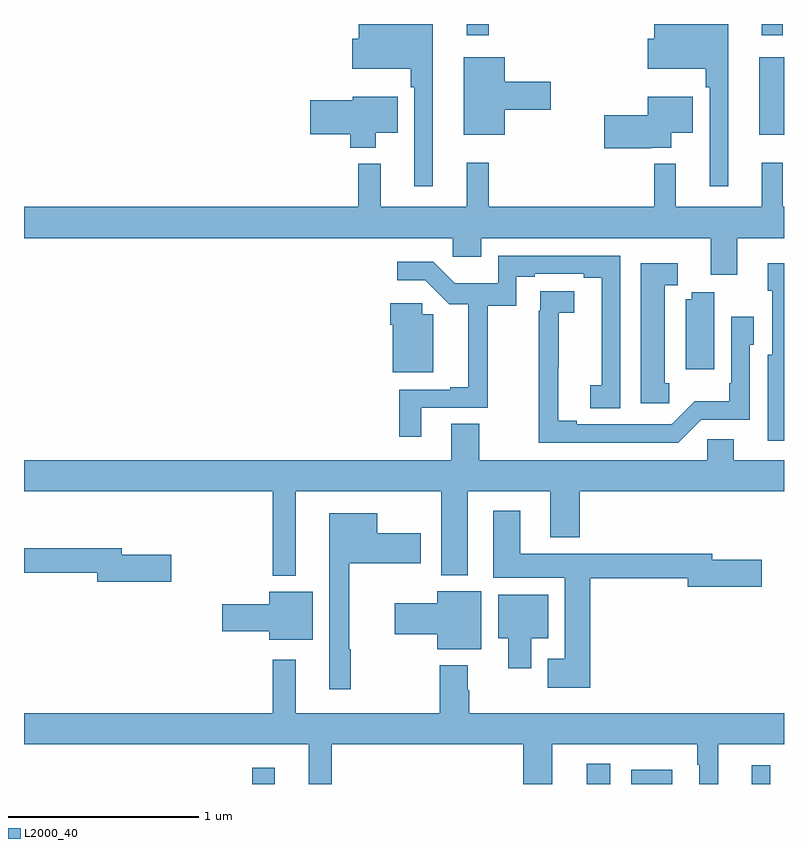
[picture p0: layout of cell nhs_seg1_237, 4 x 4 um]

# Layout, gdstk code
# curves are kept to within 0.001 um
import gdstk
lib = gdstk.Library(unit=1e-6, precision=1e-09)
def R(c, l, rs):  # rectangles x0, y0, x1, y1
    for r in rs: c.add(gdstk.rectangle(r[:2], r[2:], *l))
def P(c, l, *ps):  # polygons
    for p in ps: c.add(gdstk.Polygon(p, *l))
L2000_40 = (2000, 40)

nhs_seg1_237 = lib.new_cell('nhs_seg1_237')
R(nhs_seg1_237, L2000_40, [(124.2,542.199,124.321,542.284), (125.963,542.199,126.085,542.305), (126.195,542.199,126.412,542.275), (126.831,542.199,126.928,542.299), (126.869,545.615,127,546.025), (125.33,546.141,125.447,546.199), (126.884,546.141,126.994,546.199)])
P(nhs_seg1_237, L2000_40, [(126.706,546.199),(126.316,546.199),(126.316,546.121),(126.282,546.121),(126.282,545.963),(126.589,545.963),(126.589,545.867),(126.609,545.867),(126.609,545.346),(126.706,545.346)],
  [(125.152,546.199),(124.762,546.199),(124.762,546.121),(124.728,546.121),(124.728,545.963),(125.035,545.963),(125.035,545.867),(125.055,545.867),(125.055,545.346),(125.152,545.346)],
  [(125.53,545.747),(125.773,545.747),(125.773,545.894),(125.53,545.894),(125.53,546.025),(125.315,546.025),(125.315,545.615),(125.53,545.615)],
  [(126.302,545.549),(126.406,545.549),(126.406,545.627),(126.52,545.627),(126.52,545.815),(126.284,545.815),(126.284,545.72),(126.054,545.72),(126.054,545.544),(126.302,545.544)],
  [(124.852,545.627),(124.966,545.627),(124.966,545.815),(124.73,545.815),(124.73,545.798),(124.506,545.798),(124.506,545.62),(124.718,545.62),(124.718,545.549),(124.852,545.549)],
  [(126.754,545.072),(127,545.072),(127,545.236),(126.994,545.236),(126.994,545.47),(126.884,545.47),(126.884,545.236),(126.431,545.236),(126.431,545.464),(126.317,545.464),(126.317,545.236),(125.447,545.236),(125.447,545.47),(125.33,545.47),(125.33,545.236),(124.877,545.236),(124.877,545.464),(124.759,545.464),(124.759,545.236),(123,545.236),(123,545.072),(125.256,545.072),(125.256,544.974),(125.407,544.974),(125.407,545.072),(126.614,545.072),(126.614,544.878),(126.754,544.878)],
  [(125.092,544.179),(125.441,544.179),(125.441,544.717),(125.592,544.717),(125.592,544.87),(125.689,544.87),(125.689,544.884),(125.945,544.884),(125.945,544.864),(126.041,544.864),(126.04,544.297),(125.979,544.297),(125.979,544.177),(126.138,544.177),(126.138,544.98),(125.496,544.98),(125.496,544.834),(125.267,544.834),(125.154,544.947),(124.965,544.947),(124.965,544.851),(125.112,544.851),(125.239,544.725),(125.339,544.725),(125.339,544.288),(125.243,544.288),(125.243,544.275),(124.975,544.275),(124.975,544.026),(125.092,544.026)],
  [(126.395,544.308),(126.373,544.308),(126.373,544.824),(126.442,544.824),(126.442,544.939),(126.245,544.939),(126.245,544.203),(126.395,544.203)],
  [(127,544.939),(126.914,544.939),(126.914,544.794),(126.938,544.794),(126.938,544.458),(126.914,544.458),(126.914,544.005),(127,544.005)],
  [(126.564,544.116),(126.819,544.116),(126.819,544.512),(126.84,544.512),(126.84,544.657),(126.723,544.657),(126.723,544.309),(126.711,544.309),(126.711,544.213),(126.529,544.213),(126.408,544.092),(125.908,544.092),(125.908,544.112),(125.812,544.112),(125.814,544.678),(125.896,544.678),(125.896,544.793),(125.716,544.793),(125.716,544.691),(125.71,544.691),(125.71,543.996),(126.444,543.996)],
  [(126.634,544.787),(126.514,544.787),(126.514,544.75),(126.482,544.75),(126.482,544.383),(126.634,544.383)],
  [(125.155,544.672),(125.097,544.672),(125.097,544.729),(124.928,544.729),(124.928,544.616),(124.94,544.616),(124.94,544.367),(125.155,544.367)],
  [(124.429,543.74),(125.195,543.74),(125.195,543.299),(125.335,543.299),(125.335,543.74),(125.771,543.74),(125.771,543.497),(125.924,543.497),(125.924,543.74),(127,543.74),(127,543.904),(126.736,543.904),(126.736,544.014),(126.597,544.014),(126.597,543.904),(125.397,543.904),(125.397,544.094),(125.249,544.094),(125.249,543.904),(123,543.904),(123,543.74),(124.308,543.74),(124.308,543.296),(124.429,543.296)],
  [(125.981,543.283),(126.494,543.283),(126.494,543.236),(126.883,543.236),(126.883,543.378),(126.622,543.378),(126.622,543.412),(125.611,543.412),(125.611,543.637),(125.471,543.637),(125.471,543.284),(125.846,543.284),(125.846,542.857),(125.756,542.857),(125.756,542.705),(125.981,542.705)],
  [(124.721,542.909),(124.711,542.909),(124.711,543.362),(125.089,543.362),(125.089,543.52),(124.858,543.52),(124.858,543.625),(124.607,543.625),(124.607,542.697),(124.721,542.697)],
  [(123.775,543.405),(123.514,543.405),(123.514,543.439),(123,543.439),(123,543.31),(123.386,543.31),(123.386,543.263),(123.775,543.263)],
  [(125.407,543.214),(125.174,543.214),(125.174,543.151),(124.95,543.151),(124.95,542.986),(125.174,542.986),(125.174,542.909),(125.407,542.909)],
  [(124.519,543.211),(124.292,543.211),(124.292,543.146),(124.044,543.146),(124.044,543.004),(124.292,543.004),(124.292,542.957),(124.519,542.957)],
  [(125.671,542.966),(125.758,542.966),(125.758,543.196),(125.495,543.196),(125.495,542.966),(125.549,542.966),(125.549,542.808),(125.671,542.808)],
  [(124.621,542.408),(125.627,542.408),(125.627,542.199),(125.779,542.199),(125.779,542.408),(126.543,542.408),(126.543,542.301),(126.554,542.301),(126.554,542.199),(126.653,542.199),(126.653,542.408),(127,542.408),(127,542.572),(125.343,542.572),(125.343,542.693),(125.335,542.693),(125.335,542.824),(125.188,542.824),(125.188,542.572),(124.429,542.572),(124.429,542.854),(124.308,542.854),(124.308,542.572),(123,542.572),(123,542.408),(124.499,542.408),(124.499,542.199),(124.621,542.199)])

lib.write_gds('nhs_seg1_237.gds')
